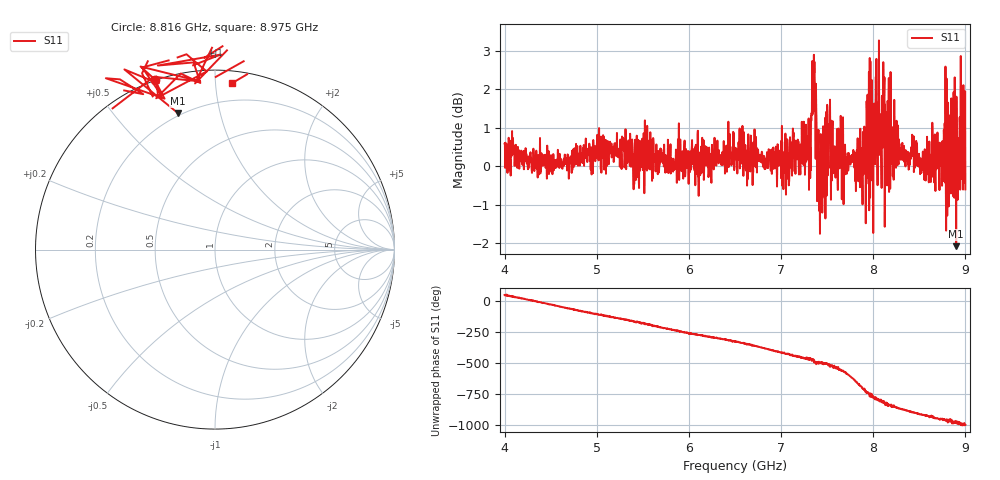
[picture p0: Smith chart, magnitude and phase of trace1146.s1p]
! Created with skrf 1.8.0 (http://scikit-rf.org).
# Hz S RI R 50.0
!freq ReS11 ImS11
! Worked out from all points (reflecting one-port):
!   1601 points, 4 GHz to 9 GHz, reference 50 ohm
!   lowest |S11| = -2.1 dB at 8.9 GHz (marker M1), VSWR 8.40, Z = 9.36 + j37.4 ohm
!   phase of S11 starts at 51 deg and turns -1047 deg over the sweep
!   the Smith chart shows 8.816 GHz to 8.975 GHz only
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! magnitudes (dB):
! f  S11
! 4 GHz  0.6
! 4.625 GHz  -0.1
! 5.016 GHz  0.5
! 5.25 GHz  0.0
! 5.875 GHz  0.1
! 6.5 GHz  0.3
! 6.984 GHz  0.4
! 7.038 GHz  0.0
! 7.125 GHz  0.6
! 7.297 GHz  1.2
! 7.356 GHz  2.9
! 7.397 GHz  0.0
! 7.425 GHz  0.0
! 7.509 GHz  0.4
! 7.566 GHz  -0.1
! 7.647 GHz  1.3
! 7.75 GHz  0.0
! 7.859 GHz  1.0
! 7.95 GHz  -0.5
! 7.997 GHz  0.5
! 8.05 GHz  1.6
! 8.066 GHz  0.3
! 8.119 GHz  2.1
! 8.197 GHz  0.3
! 8.375 GHz  0.3
! 8.9 GHz  -2.1
! 8.972 GHz  -0.1
! 9 GHz  -0.6
